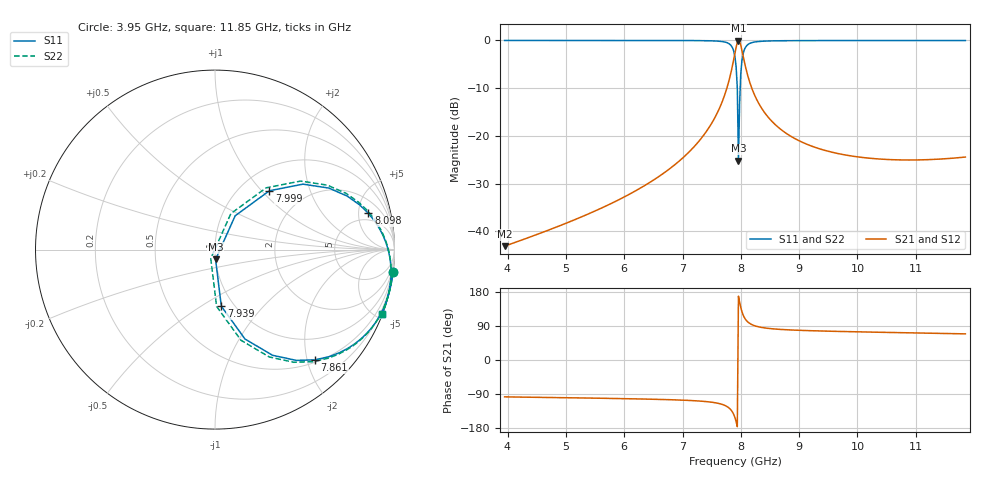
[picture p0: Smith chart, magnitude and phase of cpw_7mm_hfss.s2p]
! Touchstone file exported from HFSS 2025.2.0
!  File:  D:/lfl/Documents/Ansoft/06082026_005pf.aedt
!  Generated:  01:29:57 PM Jul 18, 2026
!  Design:  cpw_7mm
!  Project:  06082026_005pf
!  Setup:  Setup1
!  Solution:  Sweep
# GHz S MA R 50.000000
! Terminal data exported
! Port[1] = 1
! Port[2] = 2
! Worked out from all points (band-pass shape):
!   401 points, 3.95 GHz to 11.85 GHz, reference 50 ohm
!   highest |S21| = -0.01 dB at 7.959 GHz (marker M1); lowest = -43.1 dB at 3.95 GHz (marker M2)
!   |S21| within 3 dB of the highest: 7.893 GHz to 8.035 GHz (141.8 MHz wide, 1.78 % of centre)
!   lowest |S11| = -25.2 dB at 7.959 GHz (marker M3), VSWR 1.12, Z = 50 - j5.52 ohm
!   |S11| at or under -10 dB: 7.94 GHz to 7.989 GHz (49.62 MHz wide, 0.623 % of centre)
!   |S22| runs from -25.2 to 0.0 dB; largest |S21 - S12| = 2.5e-10
!   S11 on the Smith chart (normalised r, x): 3.95 GHz: 0, -16; 7.861 GHz: 0.55, -2.14; 7.939 GHz: 0.87, -0.61; 7.999 GHz: 1.35, +1.11; 8.098 GHz: 3.68, +6.51; 11.85 GHz: 0.03, -5.38
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3.95  1 -7.3  0.006992 -97.3  0.006992 -97.3  1 -7.3
! Gamma 0 0 0 0
! Port Impedance 50 0 50 0
5.27325  0.9999 -10.1  0.01421 -100.1  0.01421 -100.1  0.9999 -10.1
6.5965  0.9993 -13.9  0.0376 -103.9  0.0376 -103.9  0.9993 -14.0
7.2285  0.9968 -17.6  0.08066 -107.7  0.08066 -107.7  0.9968 -17.7
7.6235  0.9821 -24.6  0.1887 -114.7  0.1887 -114.7  0.9821 -24.9
7.7815  0.9369 -34.3  0.3498 -124.6  0.3498 -124.6  0.9369 -34.9
7.8605  0.8293 -47.8  0.5589 -138.3  0.5589 -138.3  0.8293 -48.8
7.9  0.6704 -61.4  0.742 -152.3  0.742 -152.3  0.6704 -63.2
7.91975  0.5253 -71.5  0.8509 -162.8  0.8509 -162.8  0.5253 -74.0
7.9395  0.317 -83.6  0.9484 -176.0  0.9484 -176.0  0.317 -88.3
7.95925  0.05513 -86.7  0.9985 168.5  0.9985 168.5  0.05498 -115.6
7.99875  0.4469 47.2  0.8943 138.8  0.8943 138.8  0.4469 50.4
8.0185  0.611 36.6  0.7913 127.7  0.7913 127.7  0.611 38.7
8.03825  0.7213 28.4  0.6922 119.1  0.6922 119.1  0.7212 29.9
8.0975  0.8779 13.3  0.4783 103.8  0.4783 103.8  0.8779 14.2
8.15675  0.9334 5.8  0.3582 96.1  0.3582 96.1  0.9334 6.4
8.2555  0.9676 -0.7  0.2521 89.5  0.2521 89.5  0.9676 -0.3
8.4925  0.9884 -7.1  0.1511 83.0  0.1511 83.0  0.9884 -6.8
8.8085  0.9946 -10.5  0.1034 79.6  0.1034 79.6  0.9946 -10.3
9.22325  0.9969 -12.9  0.07777 77.2  0.07777 77.2  0.9969 -12.8
10.5465  0.9984 -17.3  0.05647 72.7  0.05647 72.7  0.9984 -17.3
11.85  0.9982 -21.1  0.06004 69.0  0.06004 69.0  0.9982 -21.0
